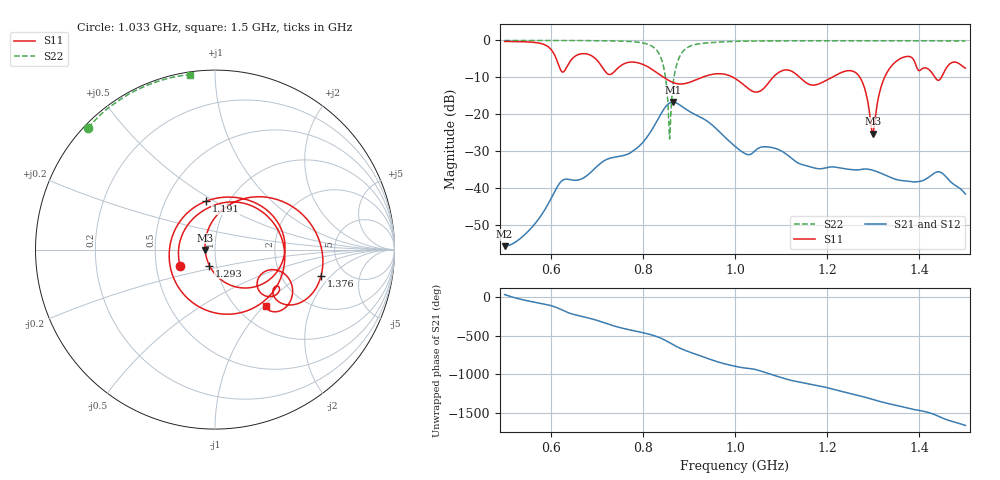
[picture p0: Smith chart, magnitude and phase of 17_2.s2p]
! TOUCHSTONE file generated by CST MICROWAVE STUDIO
! Date and time: Thu Feb 11 19:33:00 2021
! Project name: Scenario_1_Planar_Body_Tissue_Out_of_Line.cst
! Parameters = {L_HA=400; Ltissue=1000; MT=2.54; Rad_Dielectric=30; Rad_Lower=7.3; Rad_Upper=30; Wtissue=1000; a_HA=580; a_WG=246; b_HA=500; b_WG=121; c_HA=0; c_WG=187; d_feed=85; dx1=346; dy1=-69.2; h_feed=15; h_lower=18; h_upper=40; hfat=3; hgap=25; hmuscle=50; hskin=1.5}
! Header version: 2018
! Port assignment regex: !\s*Touchstone port\s*([0-9]+)\s*=\s*(CST MWS port|CST DS port)\s*([0-9]+|Zmin|Zmax)\s*\(\"(.*)\"\)(\s*mode\s*([0-9]+))?.*
! Touchstone port assignment:
! Touchstone port 1 = CST MWS port 1 ("")
! Touchstone port 2 = CST MWS port 2 ("")
# GHz S DB R 50
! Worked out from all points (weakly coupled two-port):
!   1003 points, 500 MHz to 1.5 GHz, reference 50 ohm
!   highest |S21| = -16.66 dB at 865 MHz (marker M1); lowest = -55.6 dB at 500 MHz (marker M2)
!   lowest |S11| = -25.2 dB at 1.299 GHz (marker M3), VSWR 1.12, Z = 44.8 - j0.211 ohm
!   |S11| at or under -10 dB: 845.7 MHz to 928.1 MHz (82.43 MHz wide, 9.29 % of centre); 996.3 MHz to 1.082 GHz (86.05 MHz wide, 8.28 % of centre); 1.141 GHz to 1.21 GHz (69.1 MHz wide, 5.88 % of centre) (the widest 3 of 5)
!   |S22| runs from -26.6 to 0.0 dB; largest |S21 - S12| = 1.3e-05
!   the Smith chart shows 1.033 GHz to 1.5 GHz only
!   S11 on the Smith chart (normalised r, x): 1.033 GHz: 0.66, -0.13; 1.191 GHz: 0.79, +0.46; 1.293 GHz: 0.93, -0.17; 1.376 GHz: 3.31, -1.57; 1.5 GHz: 1.34, -1.02
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0.5  -0.27 -121.5  -55.59 33.3  -55.59 33.3  -0.01 151.1
0.667  -3.60 155.8  -37.42 110.7  -37.42 110.7  -0.04 138.4
0.695  -4.69 99.4  -34.69 68.6  -34.69 68.6  -0.06 135.4
0.716  -7.98 24.5  -32.51 28.2  -32.51 28.2  -0.09 132.8
0.74  -8.20 -97.6  -31.53 -18.0  -31.53 -18.0  -0.14 129.2
0.768  -5.94 176.0  -30.69 -59.7  -30.69 -59.7  -0.26 123.6
0.8  -6.48 104.7  -27.54 -101.1  -27.54 -101.1  -0.68 112.7
0.834  -9.05 26.1  -21.03 -159.7  -21.03 -159.7  -3.37 84.0
0.857  -10.85 -37.2  -16.98 132.8  -16.98 132.8  -24.14 -2.5
0.865  -11.33 -61.7  -16.66 105.8  -16.66 105.8  -12.45 -139.5
0.938  -9.57 82.4  -21.68 -69.8  -21.68 -69.8  -0.68 151.5
1  -10.26 -65.1  -28.60 -176.0  -28.60 -176.0  -0.26 140.4
1.033  -13.38 -155.2  -30.81 153.6  -30.81 153.6  -0.18 136.2
1.103  -8.14 -6.7  -30.02 32.8  -30.02 32.8  -0.12 129.4
1.167  -12.07 163.6  -34.29 -53.5  -34.29 -53.5  -0.10 124.2
1.191  -11.24 100.8  -34.59 -81.0  -34.59 -81.0  -0.10 122.3
1.262  -8.72 -19.8  -34.98 174.2  -34.98 174.2  -0.08 117.0
1.293  -20.51 -109.1  -34.89 124.0  -34.89 124.0  -0.08 114.6
1.299  -25.20 -177.6  -35.07 113.6  -35.07 113.5  -0.08 114.2
1.334  -7.84 46.2  -36.85 58.4  -36.85 58.4  -0.09 111.5
1.376  -4.31 -14.2  -38.00 1.3  -38.00 1.3  -0.09 108.3
1.5  -7.49 -48.0  -41.52 137.2  -41.52 137.2  -0.14 98.0
